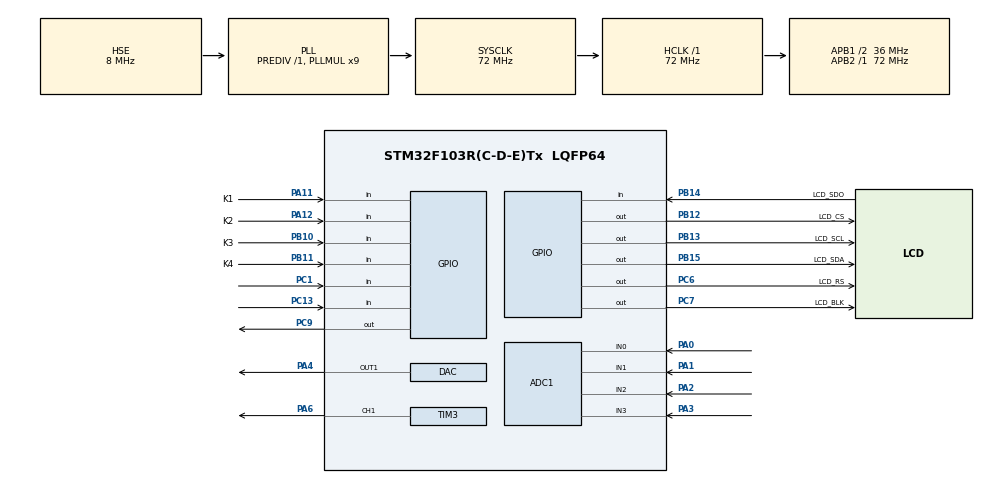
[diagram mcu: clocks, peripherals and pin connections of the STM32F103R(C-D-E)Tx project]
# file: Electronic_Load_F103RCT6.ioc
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ADC1.Channel-0\#ChannelRegularConversion=ADC_CHANNEL_0
ADC1.Channel-1\#ChannelRegularConversion=ADC_CHANNEL_1
ADC1.Channel-2\#ChannelRegularConversion=ADC_CHANNEL_2
ADC1.Channel-3\#ChannelRegularConversion=ADC_CHANNEL_3
ADC1.ContinuousConvMode=ENABLE
ADC1.EnableAnalogWatchDog=false
ADC1.NbrOfConversion=4
ADC1.NbrOfConversionFlag=1
ADC1.Rank-0\#ChannelRegularConversion=1
ADC1.Rank-1\#ChannelRegularConversion=2
ADC1.Rank-2\#ChannelRegularConversion=3
ADC1.Rank-3\#ChannelRegularConversion=4
ADC1.SamplingTime-0\#ChannelRegularConversion=ADC_SAMPLETIME_7CYCLES_5
ADC1.SamplingTime-1\#ChannelRegularConversion=ADC_SAMPLETIME_7CYCLES_5
ADC1.SamplingTime-2\#ChannelRegularConversion=ADC_SAMPLETIME_7CYCLES_5
ADC1.SamplingTime-3\#ChannelRegularConversion=ADC_SAMPLETIME_7CYCLES_5
ADC1.master=1
Dma.ADC1.0.Direction=DMA_PERIPH_TO_MEMORY
Dma.ADC1.0.Instance=DMA1_Channel1
Dma.ADC1.0.MemDataAlignment=DMA_MDATAALIGN_HALFWORD
Dma.ADC1.0.MemInc=DMA_MINC_ENABLE
Dma.ADC1.0.Mode=DMA_CIRCULAR
Dma.ADC1.0.PeriphDataAlignment=DMA_PDATAALIGN_HALFWORD
Dma.ADC1.0.PeriphInc=DMA_PINC_DISABLE
Dma.ADC1.0.Priority=DMA_PRIORITY_HIGH
Dma.Request0=ADC1
Mcu.Family=STM32F1
Mcu.Name=STM32F103R(C-D-E)Tx
Mcu.Package=LQFP64
NVIC.DMA1_Channel1_IRQn=true\:0\:0\:false\:false\:true\:false\:true
NVIC.PriorityGroup=NVIC_PRIORITYGROUP_4
NVIC.TIM3_IRQn=true\:6\:0\:true\:false\:true\:true\:true
PA0-WKUP.Signal=ADCx_IN0
PA1.Signal=ADCx_IN1
PA11.GPIO_Label=K1
PA11.GPIO_PuPd=GPIO_PULLUP
PA11.Signal=GPIO_Input
PA12.GPIO_Label=K2
PA12.GPIO_PuPd=GPIO_PULLUP
PA12.Signal=GPIO_Input
PA13.Mode=Serial_Wire
PA13.Signal=SYS_JTMS-SWDIO
PA14.Mode=Serial_Wire
PA14.Signal=SYS_JTCK-SWCLK
PA2.Signal=ADCx_IN2
PA3.Signal=ADCx_IN3
PA4.Signal=COMP_DAC1_group
PA6.Signal=S_TIM3_CH1
PB10.GPIO_Label=K3
PB10.GPIO_PuPd=GPIO_PULLUP
PB10.Signal=GPIO_Input
PB11.GPIO_Label=K4
PB11.GPIO_PuPd=GPIO_PULLUP
PB11.Signal=GPIO_Input
PB12.GPIO_Label=LCD_CS
PB12.Signal=GPIO_Output
PB13.GPIO_Label=LCD_SCL
PB13.Signal=GPIO_Output
PB14.GPIO_Label=LCD_SDO
PB14.GPIO_PuPd=GPIO_PULLUP
PB14.Signal=GPIO_Input
PB15.GPIO_Label=LCD_SDA
PB15.Signal=GPIO_Output
PC1.GPIO_PuPd=GPIO_PULLUP
PC1.Signal=GPIO_Input
PC13-TAMPER-RTC.GPIO_PuPd=GPIO_PULLUP
PC13-TAMPER-RTC.Signal=GPIO_Input
PC6.GPIO_Label=LCD_RS
PC6.GPIO_PuPd=GPIO_PULLUP
PC6.PinState=GPIO_PIN_SET
PC6.Signal=GPIO_Output
PC7.GPIO_Label=LCD_BLK
PC7.GPIO_PuPd=GPIO_PULLUP
PC7.PinState=GPIO_PIN_SET
PC7.Signal=GPIO_Output
PC9.GPIO_PuPd=GPIO_PULLDOWN
PC9.Signal=GPIO_Output
PD0-OSC_IN.Mode=HSE-External-Oscillator
PD0-OSC_IN.Signal=RCC_OSC_IN
PD1-OSC_OUT.Mode=HSE-External-Oscillator
PD1-OSC_OUT.Signal=RCC_OSC_OUT
ProjectManager.HeapSize=0x200
ProjectManager.StackSize=0x400
ProjectManager.TargetToolchain=MDK-ARM V5.32
RCC.ADCPresc=RCC_ADCPCLK2_DIV6
RCC.AHBFreq_Value=72000000
RCC.APB1CLKDivider=RCC_HCLK_DIV2
RCC.APB1Freq_Value=36000000
RCC.APB1TimFreq_Value=72000000
RCC.APB2Freq_Value=72000000
RCC.APB2TimFreq_Value=72000000
RCC.HCLKFreq_Value=72000000
RCC.PLLMUL=RCC_PLL_MUL9
RCC.PLLSourceVirtual=RCC_PLLSOURCE_HSE
RCC.SYSCLKFreq_VALUE=72000000
RCC.SYSCLKSource=RCC_SYSCLKSOURCE_PLLCLK
RCC.USBFreq_Value=72000000
SH.ADCx_IN0.0=ADC1_IN0,IN0
SH.ADCx_IN1.0=ADC1_IN1,IN1
SH.ADCx_IN2.0=ADC1_IN2,IN2
SH.ADCx_IN3.0=ADC1_IN3,IN3
SH.COMP_DAC1_group.0=DAC_OUT1,DAC_OUT1
SH.S_TIM3_CH1.0=TIM3_CH1,PWM Generation1 CH1
TIM3.Channel-PWM\ Generation1\ CH1=TIM_CHANNEL_1
TIM3.Period=500-1
TIM3.Prescaler=8400-1
VP_TIM3_VS_ClockSourceINT.Mode=Internal
board=custom

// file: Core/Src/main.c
/* USER CODE BEGIN Header */
/**
  ******************************************************************************
  * @file           : main.c
  * @brief          : Main program body
  ******************************************************************************
  * @attention
  *
  * <h2><center>&copy; Copyright (c) 2022 STMicroelectronics.
  * All rights reserved.</center></h2>
  *
  * This software component is licensed by ST under BSD 3-Clause license,
  * the "License"; You may not use this file except in compliance with the
  * License. You may obtain a copy of the License at:
  *                        opensource.org/licenses/BSD-3-Clause
  *
  ******************************************************************************
  */
/* USER CODE END Header */
#include "main.h"
#include "adc.h"
#include "dac.h"
#include "dma.h"
#include "tim.h"
#include "gpio.h"

/* USER CODE BEGIN Includes */
#include "key.h"
#include "GUI.h"
/* USER CODE END Includes */

void SystemClock_Config(void);
/* USER CODE BEGIN PFP */
void Mode1(void);
void Mode2(void);
void Mode3(void);
void Tim3_Deal(void);
uint32_t Get_Adc_Val(uint16_t *adcxbuf,uint16_t adcx);
/* USER CODE END PFP */

/* USER CODE BEGIN 0 */

uint16_t adcxbuf[5];
extern uint16_t	Count;
float Get_temp_f;
uint16_t	Get_temp_u16;
double  temp=0,	//ADC缓存
        CC_Value=0,
        CR_Vol=0,
        CR_Value=0,//DAC设置值
				temp2=0;

double  CW_Vol=0,
        CW_Value=0,
        CW_P=0.3,
        CW_I=0,	 //DAC设置值
				tempI;

uint16_t  Value_Voltage=0;	//输出电压值
double  Voltage=0;	//采集电压值
uint16_t	dac_value1=0;	//dac模式1输入值
uint16_t	dac_value2=1000;	//dac模式2输入值
uint16_t	dac_value3=2000;	//dac模式2输入值
double Converted_current;		//实际采集电流值
double	Converted_current_Value;//实际输出电流值

double	Value_current=0.1;				//目标电流值
double  CR_I;
	char Buffer[64];
uint8_t	key=0;
uint8_t	Mode=1;
uint32_t Value_Res=50;
uint16_t inc=0;
/* USER CODE END 0 */

int main(void)
{

  /* MCU Configuration--------------------------------------------------------*/

  /* Reset of all peripherals, Initializes the Flash interface and the Systick. */
  HAL_Init();

  /* Configure the system clock */
  SystemClock_Config();

  /* USER CODE BEGIN SysInit */
   HAL_TIM_Base_Start_IT(&htim3);
  /* USER CODE END SysInit */

  /* Initialize all configured peripherals */
  MX_GPIO_Init();
	MX_DMA_Init();
  MX_ADC1_Init();
  MX_DAC_Init();
  MX_TIM3_Init();

  /* USER CODE BEGIN 2 */

		HAL_ADC_ConvCpltCallback(&hadc1);
    HAL_ADCEx_Calibration_Start (&hadc1);
    HAL_ADC_Start_DMA (&hadc1,(uint32_t *)adcxbuf,4);
	  Lcd_Init();
    delay_init(72);	     //延时函数初始化
    Lcd_Clear(GRAY2);
		KEY_Init(); 				//按键初始化
		 HAL_DAC_SetValue(&hdac,DAC_CHANNEL_1,DAC_ALIGN_12B_R,dac_value1);//初始值为0
		HAL_DAC_Start(&hdac,DAC_CHANNEL_1);//开启DAC通道
  /* USER CODE END 2 */

  /* Infinite loop */
  /* USER CODE BEGIN WHILE */
    while (1)
    {
				Tim3_Deal();
        Gui_DrawFont_GBK16(0,0,BLUE,GRAY0,  "S12:+  	   S9:-");
        Gui_DrawFont_GBK16(0,16,BLUE,GRAY0, "S11:MOD+S10:MOD-");
				if(Count%2==0)
					key=KEY_Scan(0);
        if(key == KEY1_PRES)
        {
					Lcd_Clear(GRAY2);
            Mode++;
            if (Mode > 3)	Mode = 3;
        }
        else if (key == KEY3_PRES)
        {
					Lcd_Clear(GRAY2);
            Mode--;
            if (Mode < 1)	Mode = 1;
        }
        switch (Mode) {
        case 1:
            Mode1();
        case 2:
            Mode2();
        case 3:
            Mode3();

        }
    /* USER CODE END WHILE */

    }
}

void SystemClock_Config(void)
{
  RCC_OscInitTypeDef RCC_OscInitStruct = {0};
  RCC_ClkInitTypeDef RCC_ClkInitStruct = {0};
  RCC_PeriphCLKInitTypeDef PeriphClkInit = {0};

  /** Initializes the RCC Oscillators according to the specified parameters
  * in the RCC_OscInitTypeDef structure.
  */
  RCC_OscInitStruct.OscillatorType = RCC_OSCILLATORTYPE_HSE;
  RCC_OscInitStruct.HSEState = RCC_HSE_ON;
  RCC_OscInitStruct.HSEPredivValue = RCC_HSE_PREDIV_DIV1;
  RCC_OscInitStruct.HSIState = RCC_HSI_ON;
  RCC_OscInitStruct.PLL.PLLState = RCC_PLL_ON;
  RCC_OscInitStruct.PLL.PLLSource = RCC_PLLSOURCE_HSE;
  RCC_OscInitStruct.PLL.PLLMUL = RCC_PLL_MUL9;
  if (HAL_RCC_OscConfig(&RCC_OscInitStruct) != HAL_OK)
  {
    Error_Handler();
  }
  /** Initializes the CPU, AHB and APB buses clocks
  */
  RCC_ClkInitStruct.ClockType = RCC_CLOCKTYPE_HCLK|RCC_CLOCKTYPE_SYSCLK
                              |RCC_CLOCKTYPE_PCLK1|RCC_CLOCKTYPE_PCLK2;
  RCC_ClkInitStruct.SYSCLKSource = RCC_SYSCLKSOURCE_PLLCLK;
  RCC_ClkInitStruct.AHBCLKDivider = RCC_SYSCLK_DIV1;
  RCC_ClkInitStruct.APB1CLKDivider = RCC_HCLK_DIV2;
  RCC_ClkInitStruct.APB2CLKDivider = RCC_HCLK_DIV1;

  if (HAL_RCC_ClockConfig(&RCC_ClkInitStruct, FLASH_LATENCY_2) != HAL_OK)
  {
    Error_Handler();
  }
  PeriphClkInit.PeriphClockSelection = RCC_PERIPHCLK_ADC;
  PeriphClkInit.AdcClockSelection = RCC_ADCPCLK2_DIV6;
  if (HAL_RCCEx_PeriphCLKConfig(&PeriphClkInit) != HAL_OK)
  {
    Error_Handler();
  }
}

/* USER CODE BEGIN 4 */
uint32_t Get_Adc_Val(uint16_t *adcxbuf,uint16_t adcx)
{
    uint32_t ADCValue = 0;
	uint16_t i;

    for( i=0; i<15; i++)
    {
        ADCValue += adcxbuf[adcx];
    }
    ADCValue = ADCValue/15;
    return ADCValue;
}
void Mode1(void)
{
    if(Mode==1&&Count%3==0) 	//WKUP/KEY1按下了,或者定时时间到了
    {

        if(key==KEY2_PRES)
        {
            if(Value_current<1.01)Value_current+=0.01;
        }
        else if(key==KEY4_PRES)
        {
            if(Value_current>0.00)Value_current-=0.01;
            else dac_value1=0;
        }

        // Gui_DrawFont_GBK16(0,48,BLUE,GRAY0, "DAC NOW:0000");

        /*-------显示DAC的CC模式输出电压------*/						//显示"DAC SET"
        sprintf(Buffer,"DAC SET:%5.03fV",CC_Value);
        Gui_DrawFont_GBK16(0,32,BLUE,GRAY0,  Buffer);
        /*-----显示DAC的CC模式当前输入值-----*/							//显示"DAC NOW"
        sprintf(Buffer,"DAC NOW:%4d",dac_value1);
        Gui_DrawFont_GBK16(0,48,BLUE,GRAY0, Buffer);

        sprintf(Buffer,"ADC IN :%5.03fV",Voltage);
        Gui_DrawFont_GBK16(0,64,BLUE,GRAY0, Buffer);
        /*--------显示CC模式目标电压--------*/							//显示"CC_TAG"
        sprintf(Buffer,"CC_TAG :%5.02fA",Value_current);
        Gui_DrawFont_GBK16(0,80,BLUE,GRAY0, Buffer);
    }
}
void Mode2(void)
{
    if(Mode==2&&Count%3==0) 	//WKUP/KEY1按下了,或者定时时间到了
    {

			if(key==KEY2_PRES)
        {
              if(Value_Res<15000)Value_Res+=10;
        }
        else if(key==KEY4_PRES)
        {
             if(Value_Res>15)Value_Res-=10.0;
                else Value_Res=10;
        }
			 sprintf(Buffer,"CR_R :%06d",Value_Res);
				Gui_DrawFont_GBK16(0,80,BLUE,GRAY0, Buffer,0);//显示"CR_R"
        /*--------显示CR转化电流值--------*/							//显示"CR_I"

			 sprintf(Buffer,"CR_I :%5.03f",CR_I);
				Gui_DrawFont_GBK16(0,96,BLUE,GRAY0, Buffer);

        /*------显示ADC采集电压值-----------*/						//"显示ADC IN"
				sprintf(Buffer,"ADC IN :%5.03fV",Voltage);
        Gui_DrawFont_GBK16(0,64,BLUE,GRAY0, Buffer);

				/*-------显示DAC的CR模式输出电压------*/						//显示"DAC SET"

				sprintf(Buffer,"DAC SET:%5.02fV",CR_Value);
        Gui_DrawFont_GBK16(0,32,BLUE,GRAY0,Buffer);
        /*-----显示DAC的CR模式当前输入值-----*/							//显示"DAC NOW"
				sprintf(Buffer,"DAC NOW:%4d",dac_value2);
        Gui_DrawFont_GBK16(0,48,BLUE,GRAY0, Buffer);
    }
}
void Mode3(void)
{
    if(Mode==3&&Count%3==0) 	//WKUP/KEY1按下了,或者定时时间到了
    {

			if(key==KEY2_PRES)
        {
               if(CW_P<30.0)CW_P+=0.2;
        }
        else if(key==KEY4_PRES)
        {
           if(CW_P>0.2)CW_P-=0.2;
                else CW_P= 0.10;
        }
			  /*--------显示CW转化电流值--------*/							//显示"CW_P"

        Get_temp_f = CW_P;
				sprintf(Buffer,"CW_P :%5.02fW",CW_P);
				Gui_DrawFont_GBK16(0,80,BLUE,GRAY0, Buffer);

				   /*--------显示CW转化电流值--------*/							//显示"CW_I"
        Get_temp_f = CW_I;
				sprintf(Buffer,"CW_I :%5.03fA",CW_I);
				Gui_DrawFont_GBK16(0,96,BLUE,GRAY0, Buffer);

        /*------显示ADC采集电压值-----------*/						//"显示ADC IN"
        Get_temp_f = Voltage;
        sprintf(Buffer,"ADC IN :%5.03fV",Voltage);
        Gui_DrawFont_GBK16(0,64,BLUE,GRAY0, Buffer);

				/*-------显示DAC的CW模式输出电压------*/						//显示"DAC SET"

        sprintf(Buffer,"DAC SET:%5.03fV",CW_Value);
        Gui_DrawFont_GBK16(0,32,BLUE,GRAY0,Buffer);

        /*-----显示DAC的CW模式当前输入值-----*/							//显示"DAC NOW"

				sprintf(Buffer,"DAC NOW:%4d",dac_value3);
        Gui_DrawFont_GBK16(0,48,BLUE,GRAY0, Buffer);
		}
	}

void Tim3_Deal(void)
{

    if(Count % 10 == 0)
    {
			//	dac_value2 = 2190.4*CR_I+135.0;
        /*------------采集电压值-----------*/
        temp=Get_Adc_Val(adcxbuf,1);												//得到ADC采集值
        Voltage=(float)temp*(3.3/4096)*11.196;								//得到ADC转换值

			if(Voltage>30)
			{
				HAL_GPIO_WritePin(GPIOC, GPIO_PIN_9, GPIO_PIN_SET);
			}

        /*------------------------------------*/

        if(Mode == 1)
        {
            /*----------CC模式恒流步增----------*/
            dac_value1 = 2029.1*Value_current+75.8;
            HAL_DAC_SetValue(&hdac,DAC_CHANNEL_1,DAC_ALIGN_12B_R,dac_value1);//设置DAC值
            /*----------------------------------*/

            /*-----------CC输出电压值-----------*/
            Value_Voltage	= HAL_DAC_GetValue(&hdac,DAC_CHANNEL_1);		//读取前面设置DAC的值
            CC_Value=(float)Value_Voltage*(3.3/4096);			         		//得到DAC电压值
//					Converted_current_Value = CC_Value * 1.02f;								//得到硬件转换电流值
            /*------------------------------------*/
        }
					else if(Mode == 2)
				{
					   /*----------CR模式----------*/
						HAL_DAC_SetValue(&hdac,DAC_CHANNEL_1,DAC_ALIGN_12B_R,dac_value2);//设置DAC值
            /*----------------------------------*/

					  /*-----------CR输出电压值-----------*/
						CR_Vol	= HAL_DAC_GetValue(&hdac,DAC_CHANNEL_1);		//读取前面设置DAC的值
						CR_Value=(float)CR_Vol*(3.3/4096);			         		//得到DAC电压值
//					Converted_current_Value = CC_Value * 1.02f;					//得到硬件转换电流值
						/*------------------------------------*/

					  /*-----------CR模式电流---------------*/
						CR_I = (float)Voltage / Value_Res;
						dac_value2 = 2029.1*CR_I+75.8;

						/*------------------------------------*/
				}
				else if(Mode == 3)
				{
					   /*----------CW模式----------*/
						HAL_DAC_SetValue(&hdac,DAC_CHANNEL_1,DAC_ALIGN_12B_R,dac_value3);//设置DAC值
            /*----------------------------------*/

					  /*-----------CW输出电压值-----------*/
						CW_Vol	= HAL_DAC_GetValue(&hdac,DAC_CHANNEL_1);		//读取前面设置DAC的值
						CW_Value=(float)CW_Vol*(3.3/4096);			         		//得到DAC电压值

						/*------------------------------------*/

					  /*-----------CW模式电流---------------*/
						CW_I = CW_P / Voltage;
						dac_value3 = 2029.1*CW_I+75.8;

						/*------------------------------------*/
				}
    }
}
/* USER CODE END 4 */

void Error_Handler(void)
{
    __disable_irq();
    while (1)
    {
    }
}

/************************ (C) COPYRIGHT STMicroelectronics *****END OF FILE****/
